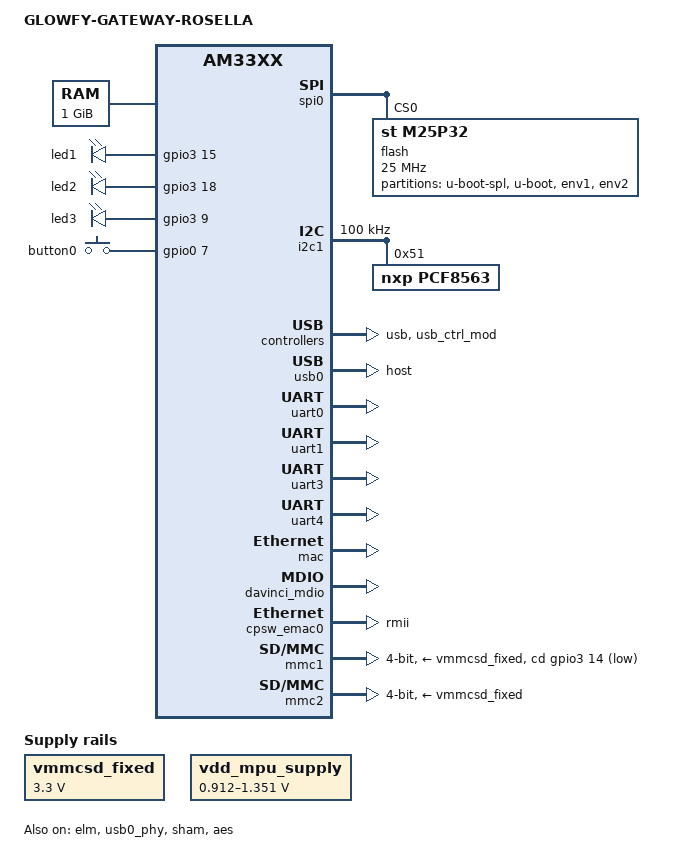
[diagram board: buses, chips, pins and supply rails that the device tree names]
/*
 * Copyright (C) 2026 Calixto Systems Pvt Ltd - https://www.calixtosystems.com/
 *
 * This program is free software; you can redistribute it and/or modify
 * it under the terms of the GNU General Public License version 2 as
 * published by the Free Software Foundation.
 */

/*
 * IoT Gateway Rosella
 * http:// http://www.calixtosystems.com/
 * Modified from am335x-stamp-nxt evb
 * Modified by Design Team <support@calixto.co.in>
 */

/dts-v1/;

#include "am33xx.dtsi"
#include <dt-bindings/pwm/pwm.h>
#include <dt-bindings/interrupt-controller/irq.h>

/ {
	model = "GLOWFY-GATEWAY-ROSELLA";
	compatible = "ti,am335x-calixto-stamp-nxt", "ti,am33xx";

	cpus {
		cpu@0 {
			cpu0-supply = <&vdd_mpu_supply>;
		};
	};

	memory@80000000 {
		device_type = "memory";
		reg = <0x80000000 0x40000000>; /* 1024MB */
	};

	chosen {
		stdout-path = &uart0;
	};

	vmmcsd_fixed: fixedregulator-sd {
		compatible = "regulator-fixed";
		regulator-name = "vmmcsd_fixed";
		regulator-min-microvolt = <3300000>;
		regulator-max-microvolt = <3300000>;
		enable-active-high;
	};

	vdd_mpu_supply: fixedregulator-mpu {
		compatible = "regulator-fixed";
		regulator-name = "vdd_mpu_supply";
		regulator-min-microvolt = <912500>;
		regulator-max-microvolt = <1351500>;
		regulator-boot-on;
	};

	leds {
		pinctrl-names = "default";
		pinctrl-0 = <&user_leds_s0>;

		compatible = "gpio-leds";

		led1 {
			label = "led1";
			gpios = <&gpio3 15 GPIO_ACTIVE_HIGH>;
			linux,default-trigger = "heartbeat";
			default-state = "on";
		};
		led2 {
			label = "led2";
			gpios = <&gpio3 18 GPIO_ACTIVE_HIGH>;
			linux,default-trigger = "heartbeat";
			default-state = "on";
		};
		led3 {
			label = "led3";
			gpios = <&gpio3 9 GPIO_ACTIVE_HIGH>;
			linux,default-trigger = "heartbeat";
			default-state = "on";
		};
	};

	gpio_buttons: gpio_buttons0 {
		compatible = "gpio-keys";
		pinctrl-names = "default";
		pinctrl-0 = <&gpio_keys_s0>;
		#address-cells = <1>;
		#size-cells = <0>;

		switch1 {
			label = "button0";
			linux,code = <0x100>;
			gpios = <&gpio0 7 GPIO_ACTIVE_HIGH>;
		};
	};



};

&am33xx_pinmux {

	user_leds_s0: user_leds_s0 {
		pinctrl-single,pins = <
			AM33XX_PADCONF(AM335X_PIN_MII1_TX_CLK, PIN_OUTPUT_PULLDOWN, MUX_MODE7) /* (K18) gmii1_txclk.gpio3[9] */
			AM33XX_PADCONF(AM335X_PIN_MCASP0_FSX, PIN_OUTPUT_PULLDOWN, MUX_MODE7) /* (B13) mcasp0_fsx.gpio3[15] */
			AM33XX_PADCONF(AM335X_PIN_MCASP0_ACLKR, PIN_OUTPUT_PULLDOWN, MUX_MODE7) /* (B12) mcasp0_aclkr.gpio3[18] */
		>;
	};

	gpio_keys_s0: gpio_keys_s0 {
		pinctrl-single,pins = <
			AM33XX_PADCONF(AM335X_PIN_ECAP0_IN_PWM0_OUT, PIN_INPUT_PULLDOWN, MUX_MODE7) /* (C18) eCAP0_in_PWM0_out.gpio0[7] */
		>;
	};

	i2c1_pins: pinmux_i2c1_pins {
		pinctrl-single,pins = <
			AM33XX_PADCONF(AM335X_PIN_UART0_RTSN, PIN_INPUT_PULLUP, MUX_MODE3)  /* (E17) uart0_rtsn.I2C1_SCL */
			AM33XX_PADCONF(AM335X_PIN_UART0_CTSN, PIN_INPUT_PULLUP, MUX_MODE3)  /* (E18) uart0_ctsn.I2C1_SDA */
		>;
	};


	spi0_pins: pinmux_spi0_pins {
		pinctrl-single,pins = <
			AM33XX_PADCONF(AM335X_PIN_SPI0_SCLK, PIN_INPUT_PULLUP, MUX_MODE0 )  /* (A17) spi0_sclk.spi0_sclk */
			AM33XX_PADCONF(AM335X_PIN_SPI0_D0, PIN_INPUT_PULLUP, MUX_MODE0 )  /* (B17) spi0_d0.spi0_d0 */
			AM33XX_PADCONF(AM335X_PIN_SPI0_D1, PIN_OUTPUT_PULLUP, MUX_MODE0 ) /* (B16) spi0_d1.spi0_d1 */
			AM33XX_PADCONF(AM335X_PIN_SPI0_CS0, PIN_OUTPUT_PULLUP, MUX_MODE0 ) /* (A16) spi0_cs0.spi0_cs0 */
		>;
	};

	uart0_pins: pinmux_uart0_pins {
		pinctrl-single,pins = <
			AM33XX_PADCONF(AM335X_PIN_UART0_RXD, PIN_INPUT_PULLUP, MUX_MODE0)	/* uart0_rxd.uart0_rxd */
			AM33XX_PADCONF(AM335X_PIN_UART0_TXD, PIN_OUTPUT_PULLDOWN, MUX_MODE0)	/* uart0_txd.uart0_txd */
		>;
	};

	uart1_pins: pinmux_uart1_pins {
		pinctrl-single,pins = <
			AM33XX_PADCONF(AM335X_PIN_UART1_RXD, PIN_INPUT_PULLUP, MUX_MODE0 )	/* (D16) uart1_rxd.uart1_rxd */
			AM33XX_PADCONF(AM335X_PIN_UART1_TXD, PIN_OUTPUT_PULLDOWN, MUX_MODE0 )	/* (D15) uart1_txd.uart1_txd */
		>;
	};

	uart3_pins: pinmux_uart3_pins {
		pinctrl-single,pins = <
			AM33XX_PADCONF(AM335X_PIN_SPI0_CS1, PIN_INPUT_PULLUP, MUX_MODE1 )  /* (C15) spi0_cs1.uart3_rxd   RS485_1_RX*/
			AM33XX_PADCONF(AM335X_PIN_MII1_RXD2, PIN_OUTPUT_PULLDOWN, MUX_MODE1 )  /* (L16) gmii1_rxd2.uart3_txd RS485_1_TX*/
		>;
	};

	uart4_pins: pinmux_uart4_pins {
		pinctrl-single,pins = <
			AM33XX_PADCONF(AM335X_PIN_MII1_TXD3, PIN_INPUT_PULLUP, MUX_MODE3 )  /* (J18) gmii1_txd3.uart4_rxd RS485_2_RX*/
			AM33XX_PADCONF(AM335X_PIN_MII1_TXD2, PIN_OUTPUT_PULLDOWN, MUX_MODE3 )  /* (K15) gmii1_txd2.uart4_txd RS485_2_TX*/
			AM33XX_PADCONF(AM335X_PIN_MII1_RX_CLK, PIN_OUTPUT_PULLUP, MUX_MODE7)   /* (L18) gmii1_rxclk.gpio3[10] */
		>;
	};

	cpsw_default: cpsw_default {
		pinctrl-single,pins = <
			/* Slave 1 */
			/* Slave 1 */
			AM33XX_PADCONF(AM335X_PIN_MII1_CRS, PIN_INPUT_PULLDOWN, MUX_MODE1)  /* mii1_crs.rmii1_crs_dv */
			AM33XX_PADCONF(AM335X_PIN_MII1_RX_ER, PIN_INPUT_PULLDOWN, MUX_MODE1)  /* mii1_rxerr.mii1_rxerr */
			AM33XX_PADCONF(AM335X_PIN_MII1_TX_EN, PIN_OUTPUT_PULLDOWN, MUX_MODE1)  /* mii1_txen.mii1_txen   */
			AM33XX_PADCONF(AM335X_PIN_MII1_TXD1, PIN_OUTPUT_PULLDOWN, MUX_MODE1)  /* mii1_txd1.mii1_txd1   */
			AM33XX_PADCONF(AM335X_PIN_MII1_TXD0, PIN_OUTPUT_PULLDOWN, MUX_MODE1)  /* mii1_txd0.mii1_txd0   */
			AM33XX_PADCONF(AM335X_PIN_MII1_RXD1, PIN_INPUT_PULLDOWN, MUX_MODE1)  /* mii1_rxd1.mii1_rxd2   */
			AM33XX_PADCONF(AM335X_PIN_MII1_RXD0, PIN_INPUT_PULLDOWN, MUX_MODE1)  /* mii1_rxd0.mii1_rxd0   */
			AM33XX_PADCONF(AM335X_PIN_RMII1_REF_CLK, PIN_INPUT_PULLDOWN, MUX_MODE0)  /* rmii1_refclk.rmii1_refclk */
		>;
	};

	cpsw_sleep: cpsw_sleep {
		pinctrl-single,pins = <
			/* Slave 1 reset value */
			AM33XX_PADCONF(AM335X_PIN_MII1_CRS, PIN_INPUT_PULLDOWN, MUX_MODE7)
			AM33XX_PADCONF(AM335X_PIN_MII1_RX_ER, PIN_INPUT_PULLDOWN, MUX_MODE7)
			AM33XX_PADCONF(AM335X_PIN_MII1_TX_EN, PIN_INPUT_PULLDOWN, MUX_MODE7)
			AM33XX_PADCONF(AM335X_PIN_MII1_TXD1, PIN_INPUT_PULLDOWN, MUX_MODE7)
			AM33XX_PADCONF(AM335X_PIN_MII1_TXD0, PIN_INPUT_PULLDOWN, MUX_MODE7)
			AM33XX_PADCONF(AM335X_PIN_MII1_RXD1, PIN_INPUT_PULLDOWN, MUX_MODE7)
			AM33XX_PADCONF(AM335X_PIN_MII1_RXD0, PIN_INPUT_PULLDOWN, MUX_MODE7)
			AM33XX_PADCONF(AM335X_PIN_RMII1_REF_CLK, PIN_INPUT_PULLDOWN, MUX_MODE7)
		>;
	};

	davinci_mdio_default: davinci_mdio_default {
		pinctrl-single,pins = <
			/* MDIO */
			AM33XX_PADCONF(AM335X_PIN_MDIO, PIN_INPUT_PULLUP, MUX_MODE0)	/* mdio_data.mdio_data */
			AM33XX_PADCONF(AM335X_PIN_MDC, PIN_OUTPUT_PULLUP, MUX_MODE0)			/* mdio_clk.mdio_clk */
		>;
	};

	davinci_mdio_sleep: davinci_mdio_sleep {
		pinctrl-single,pins = <
			/* MDIO reset value */
			AM33XX_PADCONF(AM335X_PIN_MDIO, PIN_INPUT_PULLDOWN, MUX_MODE7)
			AM33XX_PADCONF(AM335X_PIN_MDC, PIN_INPUT_PULLDOWN, MUX_MODE7)
		>;
	};

	mmc1_pins_default: pinmux_mmc1_pins {
		pinctrl-single,pins = <
			AM33XX_PADCONF(AM335X_PIN_MMC0_DAT0, PIN_INPUT_PULLUP, MUX_MODE0)    /* mmc0_dat3.mmc0_dat3 */
			AM33XX_PADCONF(AM335X_PIN_MMC0_DAT1, PIN_INPUT_PULLUP, MUX_MODE0)    /* mmc0_dat2.mmc0_dat2 */
			AM33XX_PADCONF(AM335X_PIN_MMC0_DAT2, PIN_INPUT_PULLUP, MUX_MODE0)    /* mmc0_dat1.mmc0_dat1 */
			AM33XX_PADCONF(AM335X_PIN_MMC0_DAT3, PIN_INPUT_PULLUP, MUX_MODE0)    /* mmc0_dat0.mmc0_dat0 */
			AM33XX_PADCONF(AM335X_PIN_MMC0_CMD, PIN_INPUT_PULLUP, MUX_MODE0)    /* mmc0_clk.mmc0_clk */
			AM33XX_PADCONF(AM335X_PIN_MMC0_CLK, PIN_INPUT_PULLUP, MUX_MODE0)    /* mmc0_cmd.mmc0_cmd */
			AM33XX_PADCONF(AM335X_PIN_MCASP0_ACLKX, PIN_INPUT, MUX_MODE7)           /* mcasp0_aclkx.gpio3_14 */
		>;
	};	

	mmc1_pins_sleep: pinmux_mmc1_pins_sleep {
		pinctrl-single,pins = <
			AM33XX_PADCONF(AM335X_PIN_MMC0_DAT0, PIN_INPUT_PULLDOWN, MUX_MODE7)
			AM33XX_PADCONF(AM335X_PIN_MMC0_DAT1, PIN_INPUT_PULLDOWN, MUX_MODE7)
			AM33XX_PADCONF(AM335X_PIN_MMC0_DAT2, PIN_INPUT_PULLDOWN, MUX_MODE7)
			AM33XX_PADCONF(AM335X_PIN_MMC0_DAT3, PIN_INPUT_PULLDOWN, MUX_MODE7)
			AM33XX_PADCONF(AM335X_PIN_MMC0_CMD, PIN_INPUT_PULLDOWN, MUX_MODE7)
			AM33XX_PADCONF(AM335X_PIN_MMC0_CLK, PIN_INPUT_PULLDOWN, MUX_MODE7)
			AM33XX_PADCONF(AM335X_PIN_MCASP0_ACLKX, PIN_INPUT_PULLDOWN, MUX_MODE7)
		>;
	};

	emmc_pins: pinmux_emmc_pins {
		pinctrl-single,pins = <
			AM33XX_PADCONF(AM335X_PIN_GPMC_CSN1, PIN_INPUT_PULLUP, MUX_MODE2 ) /* (U9) gpmc_csn1.mmc1_clk */
			AM33XX_PADCONF(AM335X_PIN_GPMC_CSN2, PIN_INPUT_PULLUP, MUX_MODE2 ) /* (V9) gpmc_csn2.mmc1_cmd */
			AM33XX_PADCONF(AM335X_PIN_GPMC_AD0, PIN_INPUT_PULLUP, MUX_MODE1 ) /* (U7) gpmc_ad0.mmc1_dat0 */
			AM33XX_PADCONF(AM335X_PIN_GPMC_AD1, PIN_INPUT_PULLUP, MUX_MODE1 ) /* (V7) gpmc_ad1.mmc1_dat1 */
			AM33XX_PADCONF(AM335X_PIN_GPMC_AD2, PIN_INPUT_PULLUP, MUX_MODE1 ) /* (R8) gpmc_ad2.mmc1_dat2 */
			AM33XX_PADCONF(AM335X_PIN_GPMC_AD3, PIN_INPUT_PULLUP, MUX_MODE1 ) /* (T8) gpmc_ad3.mmc1_dat3 */
		>;
	};

	usb0_drvvbus: usb0_drvvbus {
               	pinctrl-single,pins = <
                        AM33XX_PADCONF(AM335X_PIN_USB0_DRVVBUS, PIN_OUTPUT_PULLUP, MUX_MODE0)
               	>;
       	};

};

&elm {
	status = "okay";
};

/*
 * SPI Flash (8MiB)
 * 0x000000 - 0x01FFFF : SPL (128KiB)
 * 0x020000 - 0x09FFFF : U-Boot (512KiB)
 * 0x0A0000 - 0x0BFFFF : First copy of U-Boot Environment (128KiB)
 * 0x0C0000 - 0x0DFFFF : Second copy of U-Boot Environment (128KiB)
 */

&spi0 {
	pinctrl-names = "default";
	pinctrl-0 = <&spi0_pins>;
	status = "okay";

	flash: n25q032@0 {
		 #address-cells = <1>;
		 #size-cells = <1>;
		 compatible = "st,m25p32";
		 spi-max-frequency = <25000000>;
		 reg = <0>;


		 partition@0 {
			 label = "u-boot-spl";
			 reg = <0x000000 0x020000>;
		 };


		 partition@1 {
			 label = "u-boot";
			 reg = <0x020000 0x080000>;
		 };

		 partition@2 {
			 label = "env1";
			 reg = <0x0A0000 0x020000>;
		 };

		 partition@3 {
			 label = "env2";
			 reg = <0x0C0000 0x020000>;
		 };

	};
};

&i2c1 {
	pinctrl-names = "default";
	pinctrl-0 = <&i2c1_pins>;
	status = "okay";
	clock-frequency = <100000>;

	pcf8563: pcf8563@51 {
		compatible = "nxp,pcf8563";
		reg = <0x51>;
	};
		

};

&usb {
	status = "okay";
};

&usb_ctrl_mod {
	status = "okay";
};

&usb0_phy {
	status = "okay";
};

&usb0 {
        pinctrl-0 = <&usb0_drvvbus>;
	status = "okay";
	dr_mode = "host";
};

&cppi41dma  {
	status = "okay";
};

&wkup_m3_ipc {
	ti,needs-vtt-toggle;
	ti,vtt-gpio-pin = <7>;
	ti,scale-data-fw = "am335x-evm-scale-data.bin";
};


&uart0 {
        pinctrl-names = "default";
        pinctrl-0 = <&uart0_pins>;

        status = "okay";
};

&uart1 {
        pinctrl-names = "default";
        pinctrl-0 = <&uart1_pins>;

        status = "okay";
};

&uart3 {
        pinctrl-names = "default";
        pinctrl-0 = <&uart3_pins>;

        status = "okay";
};

&uart4 {
        pinctrl-names = "default";
        pinctrl-0 = <&uart4_pins>;

        status = "okay";
};

&mac {
	pinctrl-names = "default", "sleep";
	pinctrl-0 = <&cpsw_default>;
	pinctrl-1 = <&cpsw_sleep>;
	slaves = <1>;
	status = "okay";
};

&davinci_mdio {
	pinctrl-names = "default", "sleep";
	pinctrl-0 = <&davinci_mdio_default>;
	pinctrl-1 = <&davinci_mdio_sleep>;
	status = "okay";
};

&cpsw_emac0 {
	phy_id = <&davinci_mdio>, <0>;
	phy-mode = "rmii";
	dual_emac_res_vlan = <1>;
};

/*
&phy_sel {
	rmii-clock-ext;
};
*/

&mmc1 {
        status = "okay";
        vmmc-supply = <&vmmcsd_fixed>;
        bus-width = <4>;
        pinctrl-names = "default", "sleep";
        pinctrl-0 = <&mmc1_pins_default>;
        pinctrl-1 = <&mmc1_pins_sleep>;
	cd-gpios = <&gpio3 14 GPIO_ACTIVE_LOW>;
};

&mmc2 {
	status = "okay";
	pinctrl-names = "default";
	pinctrl-0 = <&emmc_pins>;
        vmmc-supply = <&vmmcsd_fixed>;
	bus-width = <4>;
	ti,non-removable;
};

&sham {
	status = "okay";
};

&aes {
	status = "okay";
};

&gpio0 {
	ti,no-reset-on-init;
};

/*
&sgx {
	status = "okay";
};
*/

&rtc {
	clocks = <&clk_32768_ck>, <&clk_24mhz_clkctrl AM3_CLK_24MHZ_CLKDIV32K_CLKCTRL 0>;
	clock-names = "ext-clk", "int-clk";
};


